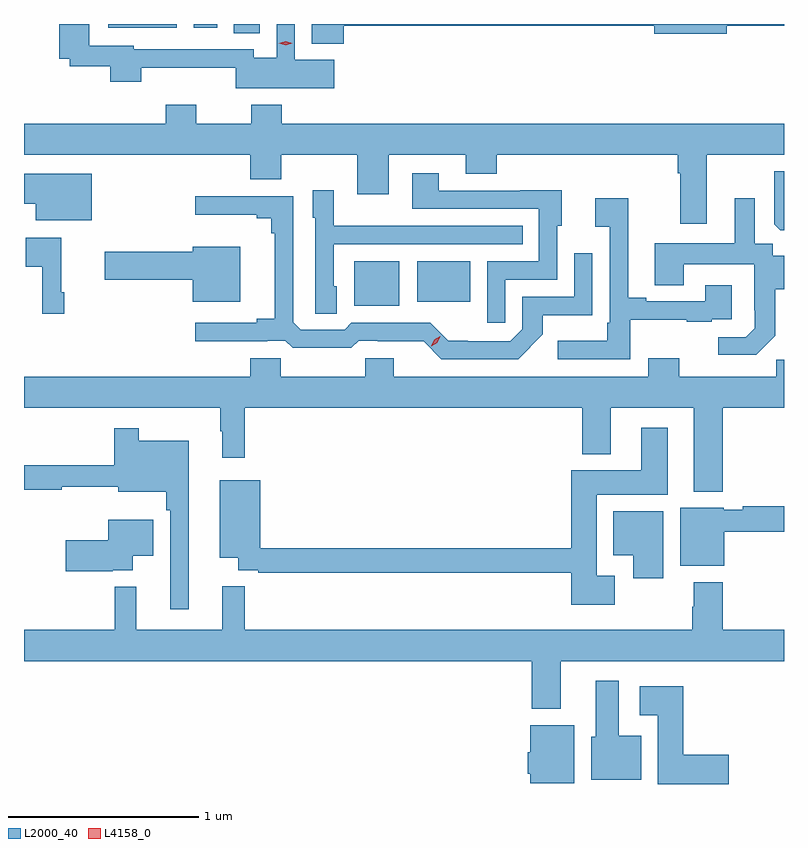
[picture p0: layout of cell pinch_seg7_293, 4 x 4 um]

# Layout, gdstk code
import gdstk
lib = gdstk.Library(unit=1e-6, precision=1e-09)
def R(c, l, rs):  # rectangles x0, y0, x1, y1
    for r in rs: c.add(gdstk.rectangle(r[:2], r[2:], *l))
def P(c, l, *ps):  # polygons
    for p in ps: c.add(gdstk.Polygon(p, *l))
L2000_40 = (2000, 40)
L4158_0 = (4158, 0)

pinch_seg7_293 = lib.new_cell('pinch_seg7_293')
R(pinch_seg7_293, L2000_40, [(556.259,1050.437,556.498,1050.673), (556.592,1050.458,556.87,1050.673), (555.626,1051.873,555.763,1051.921), (554.966,1051.901,555.325,1051.921), (555.416,1051.902,555.538,1051.921)])
P(pinch_seg7_293, L2000_40, [(556.204,1051.912),(557.84,1051.912),(557.84,1051.87),(558.22,1051.87),(558.22,1051.912),(558.522,1051.912),(558.522,1051.921),(556.037,1051.921),(556.037,1051.817),(556.204,1051.817)],
  [(556.156,1051.732),(555.948,1051.732),(555.948,1051.921),(555.852,1051.921),(555.852,1051.744),(555.732,1051.744),(555.732,1051.788),(555.099,1051.788),(555.099,1051.806),(554.866,1051.806),(554.866,1051.921),(554.708,1051.921),(554.708,1051.739),(554.762,1051.739),(554.762,1051.698),(554.975,1051.698),(554.975,1051.616),(555.14,1051.616),(555.14,1051.691),(555.636,1051.691),(555.636,1051.583),(556.156,1051.583)],
  [(558.115,1051.232),(558.522,1051.232),(558.522,1051.396),(555.878,1051.396),(555.878,1051.495),(555.718,1051.495),(555.718,1051.396),(555.429,1051.396),(555.429,1051.495),(555.269,1051.495),(555.269,1051.396),(554.522,1051.396),(554.522,1051.232),(555.713,1051.232),(555.713,1051.104),(555.877,1051.104),(555.877,1051.232),(556.277,1051.232),(556.277,1051.026),(556.441,1051.026),(556.441,1051.232),(556.847,1051.232),(556.847,1051.133),(557.011,1051.133),(557.011,1051.232),(557.963,1051.232),(557.963,1051.136),(557.975,1051.136),(557.975,1050.87),(558.115,1050.87)],
  [(558.522,1051.147),(558.471,1051.147),(558.471,1050.867),(558.503,1050.836),(558.522,1050.836)],
  [(557.055,1050.576),(557.328,1050.576),(557.328,1050.858),(557.353,1050.858),(557.353,1051.046),(557.135,1051.046),(557.135,1051.044),(556.705,1051.044),(556.705,1051.135),(556.565,1051.135),(556.565,1050.948),(557.232,1050.948),(557.232,1050.672),(556.959,1050.672),(556.959,1050.348),(557.055,1050.348)],
  [(554.878,1051.132),(554.524,1051.132),(554.524,1050.974),(554.585,1050.974),(554.585,1050.887),(554.878,1050.887)],
  [(556.168,1050.54),(556.152,1050.54),(556.152,1050.762),(557.147,1050.762),(557.147,1050.858),(556.469,1050.858),(556.469,1050.859),(556.152,1050.859),(556.152,1051.045),(556.043,1051.045),(556.043,1050.9),(556.056,1050.9),(556.056,1050.397),(556.168,1050.397)],
  [(557.253,1050.287),(557.253,1050.389),(557.514,1050.389),(557.514,1050.715),(557.418,1050.715),(557.418,1050.486),(557.145,1050.486),(557.145,1050.315),(557.082,1050.252),(556.858,1050.252),(556.858,1050.254),(556.754,1050.254),(556.659,1050.348),(556.245,1050.348),(556.209,1050.312),(555.978,1050.312),(555.939,1050.351),(555.939,1051.014),(555.423,1051.014),(555.423,1050.917),(555.746,1050.917),(555.746,1050.898),(555.823,1050.898),(555.823,1050.821),(555.842,1050.821),(555.842,1050.371),(555.746,1050.371),(555.746,1050.348),(555.423,1050.348),(555.423,1050.251),(555.803,1050.251),(555.803,1050.255),(555.897,1050.255),(555.937,1050.216),(556.245,1050.216),(556.284,1050.255),(556.384,1050.255),(556.384,1050.251),(556.625,1050.251),(556.719,1050.156),(557.122,1050.156)],
  [(558.477,1050.279),(558.477,1050.525),(558.522,1050.525),(558.522,1050.7),(558.462,1050.7),(558.462,1050.764),(558.367,1050.764),(558.367,1051.003),(558.263,1051.003),(558.263,1050.766),(557.843,1050.766),(557.843,1050.547),(557.995,1050.547),(557.995,1050.656),(558.366,1050.656),(558.366,1050.415),(558.368,1050.415),(558.368,1050.32),(558.321,1050.273),(558.177,1050.273),(558.177,1050.179),(558.377,1050.179)],
  [(557.713,1050.365),(558.011,1050.365),(558.011,1050.354),(558.143,1050.354),(558.143,1050.366),(558.247,1050.366),(558.247,1050.547),(558.107,1050.547),(558.107,1050.462),(557.797,1050.462),(557.797,1050.481),(557.701,1050.481),(557.701,1051.003),(557.529,1051.003),(557.529,1050.854),(557.604,1050.854),(557.604,1050.349),(557.592,1050.349),(557.592,1050.253),(557.331,1050.253),(557.331,1050.156),(557.713,1050.156)],
  [(554.735,1050.508),(554.718,1050.508),(554.718,1050.796),(554.532,1050.796),(554.532,1050.644),(554.618,1050.644),(554.618,1050.396),(554.735,1050.396)],
  [(555.661,1050.748),(555.41,1050.748),(555.41,1050.722),(554.946,1050.722),(554.946,1050.575),(555.41,1050.575),(555.41,1050.458),(555.661,1050.458)],
  [(558.047,1049.459),(558.2,1049.459),(558.2,1049.9),(558.522,1049.9),(558.522,1050.155),(558.481,1050.155),(558.481,1050.064),(557.971,1050.064),(557.971,1050.163),(557.807,1050.163),(557.807,1050.064),(556.468,1050.064),(556.468,1050.162),(556.318,1050.162),(556.318,1050.064),(555.873,1050.064),(555.873,1050.162),(555.713,1050.162),(555.713,1050.064),(554.522,1050.064),(554.522,1049.9),(555.555,1049.9),(555.555,1049.777),(555.566,1049.777),(555.566,1049.637),(555.683,1049.637),(555.683,1049.9),(557.459,1049.9),(557.459,1049.657),(557.611,1049.657),(557.611,1049.9),(558.047,1049.9)],
  [(557.632,1049.017),(557.536,1049.017),(557.536,1049.444),(557.911,1049.444),(557.911,1049.797),(557.771,1049.797),(557.771,1049.572),(557.402,1049.572),(557.402,1049.162),(555.766,1049.162),(555.766,1049.521),(555.551,1049.521),(555.551,1049.111),(555.65,1049.111),(555.65,1049.046),(555.754,1049.046),(555.754,1049.034),(557.402,1049.034),(557.402,1048.865),(557.632,1048.865)],
  [(555.388,1049.728),(555.127,1049.728),(555.127,1049.794),(554.998,1049.794),(554.998,1049.599),(554.522,1049.599),(554.522,1049.47),(554.721,1049.47),(554.721,1049.485),(555.017,1049.485),(555.017,1049.459),(555.271,1049.459),(555.271,1049.363),(555.291,1049.363),(555.291,1048.842),(555.388,1048.842)],
  [(558.208,1049.248),(558.522,1049.248),(558.522,1049.384),(558.304,1049.384),(558.304,1049.364),(558.204,1049.364),(558.204,1049.374),(557.975,1049.374),(557.975,1049.069),(558.208,1049.069)],
  [(557.887,1049.356),(557.624,1049.356),(557.624,1049.126),(557.729,1049.126),(557.729,1049.004),(557.887,1049.004)],
  [(554.99,1049.045),(555.094,1049.045),(555.094,1049.123),(555.202,1049.123),(555.202,1049.311),(554.966,1049.311),(554.966,1049.203),(554.742,1049.203),(554.742,1049.04),(554.99,1049.04)],
  [(557.347,1048.568),(558.522,1048.568),(558.522,1048.732),(558.2,1048.732),(558.2,1048.984),(558.047,1048.984),(558.047,1048.853),(558.04,1048.853),(558.04,1048.732),(555.683,1048.732),(555.683,1048.961),(555.566,1048.961),(555.566,1048.732),(555.113,1048.732),(555.113,1048.96),(555,1048.96),(555,1048.732),(554.522,1048.732),(554.522,1048.568),(557.195,1048.568),(557.195,1048.316),(557.347,1048.316)],
  [(557.77,1048.174),(557.653,1048.174),(557.653,1048.465),(557.531,1048.465),(557.531,1048.17),(557.507,1048.17),(557.507,1047.944),(557.77,1047.944)],
  [(558.232,1048.076),(557.993,1048.076),(557.993,1048.435),(557.763,1048.435),(557.763,1048.283),(557.858,1048.283),(557.858,1047.921),(558.232,1047.921)],
  [(557.419,1048.231),(557.186,1048.231),(557.186,1048.089),(557.174,1048.089),(557.174,1047.975),(557.186,1047.975),(557.186,1047.926),(557.419,1047.926)])
P(pinch_seg7_293, L4158_0, [(556.665,1050.224),(556.665,1050.224),(556.681,1050.258),(556.712,1050.278),(556.712,1050.278),(556.712,1050.278),(556.696,1050.244),(556.665,1050.224)],
  [(555.899,1051.81),(555.864,1051.819),(555.864,1051.82),(555.864,1051.82),(555.899,1051.83),(555.934,1051.82),(555.934,1051.82),(555.934,1051.819)])

lib.write_gds('pinch_seg7_293.gds')
